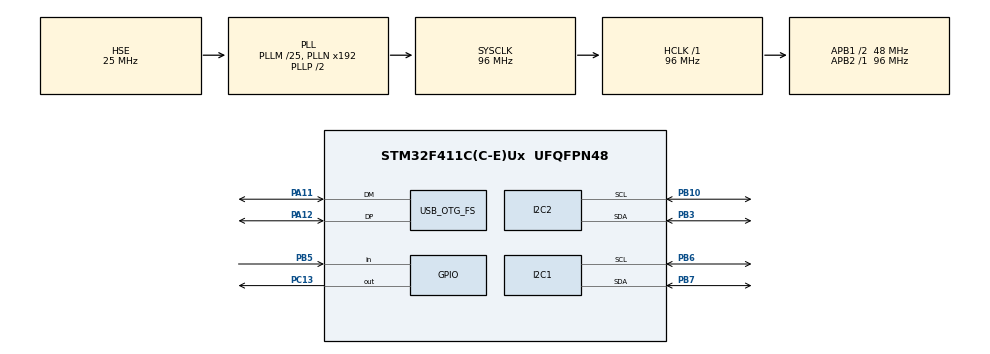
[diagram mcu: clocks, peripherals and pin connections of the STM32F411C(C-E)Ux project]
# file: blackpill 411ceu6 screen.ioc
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I2C2.I2C_Mode=I2C_Fast
Mcu.Family=STM32F4
Mcu.Name=STM32F411C(C-E)Ux
Mcu.Package=UFQFPN48
NVIC.OTG_FS_IRQn=true\:0\:0\:false\:false\:true\:false\:true\:true
NVIC.PriorityGroup=NVIC_PRIORITYGROUP_4
PA0-WKUP.Mode=SYS_WakeUp0
PA0-WKUP.Signal=SYS_WKUP
PA11.Mode=Device_Only
PA11.Signal=USB_OTG_FS_DM
PA12.Mode=Device_Only
PA12.Signal=USB_OTG_FS_DP
PA13.Mode=Serial_Wire
PA13.Signal=SYS_JTMS-SWDIO
PA14.Mode=Serial_Wire
PA14.Signal=SYS_JTCK-SWCLK
PB10.Mode=I2C
PB10.Signal=I2C2_SCL
PB3.Mode=I2C
PB3.Signal=I2C2_SDA
PB5.Signal=GPIO_Input
PB6.Mode=I2C
PB6.Signal=I2C1_SCL
PB7.Mode=I2C
PB7.Signal=I2C1_SDA
PC13-ANTI_TAMP.Signal=GPIO_Output
PC14-OSC32_IN.Mode=LSE-External-Oscillator
PC14-OSC32_IN.Signal=RCC_OSC32_IN
PC15-OSC32_OUT.Mode=LSE-External-Oscillator
PC15-OSC32_OUT.Signal=RCC_OSC32_OUT
PH0\ -\ OSC_IN.Mode=HSE-External-Oscillator
PH0\ -\ OSC_IN.Signal=RCC_OSC_IN
PH1\ -\ OSC_OUT.Mode=HSE-External-Oscillator
PH1\ -\ OSC_OUT.Signal=RCC_OSC_OUT
ProjectManager.HeapSize=0x200
ProjectManager.StackSize=0x400
ProjectManager.TargetToolchain=CMake
RCC.48MHZClocksFreq_Value=48000000
RCC.AHBFreq_Value=96000000
RCC.APB1CLKDivider=RCC_HCLK_DIV2
RCC.APB1Freq_Value=48000000
RCC.APB1TimFreq_Value=96000000
RCC.APB2Freq_Value=96000000
RCC.APB2TimFreq_Value=96000000
RCC.CortexFreq_Value=96000000
RCC.HCLKFreq_Value=96000000
RCC.HSE_VALUE=25000000
RCC.HSI_VALUE=16000000
RCC.PLLM=25
RCC.SYSCLKFreq_VALUE=96000000
RCC.SYSCLKSource=RCC_SYSCLKSOURCE_PLLCLK
RCC.VCOOutputFreq_Value=192000000
USB_DEVICE.CLASS_NAME_FS=CDC
USB_DEVICE.PRODUCT_STRING_CDC_FS=Cosito
USB_DEVICE.VirtualMode=Cdc
USB_DEVICE.VirtualModeFS=Cdc_FS
USB_OTG_FS.VirtualMode=Device_Only
VP_USB_DEVICE_VS_USB_DEVICE_CDC_FS.Mode=CDC_FS
board=custom

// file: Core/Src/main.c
/* USER CODE BEGIN Header */
/**
  ******************************************************************************
  * @file           : main.c
  * @brief          : Main program body
  ******************************************************************************
  * @attention
  *
  * Copyright (c) 2024 STMicroelectronics.
  * All rights reserved.
  *
  * This software is licensed under terms that can be found in the LICENSE file
  * in the root directory of this software component.
  * If no LICENSE file comes with this software, it is provided AS-IS.
  *
  ******************************************************************************
  */
/* USER CODE END Header */
#include "main.h"
#include "i2c.h"
#include "usb_device.h"
#include "gpio.h"

/* USER CODE BEGIN Includes */
#include "usbd_cdc_if.h"
#include "string.h"
#include "ssd1306.h"
#include "mpu6050.h"
#include "ssd1306_fonts.h"
#include "stdio.h"
#include "liquidcrystal_i2c.h"
/* USER CODE END Includes */

/* USER CODE BEGIN PV */
MPU6050_t MPU6050;
/* USER CODE END PV */

void SystemClock_Config(void);

/* USER CODE BEGIN 0 */

char buffer[946];
char buffer2[20];

void print_oled()
{
		ssd1306_Fill(Black);

		ssd1306_SetCursor(2,0);
		sprintf(buffer,"%d, %d, %d \n", MPU6050.Accel_X_RAW, MPU6050.Accel_Y_RAW, MPU6050.Accel_Z_RAW);
		ssd1306_WriteString(buffer, Font_7x10, White);
		ssd1306_Line(1,18,127,18,White);

		ssd1306_SetCursor(2, 28);
		sprintf(buffer,"% 3.4lfX,% 3.4lfY \n", MPU6050.KalmanAngleX, MPU6050.KalmanAngleY);
		ssd1306_WriteString(buffer, Font_7x10, White);
		ssd1306_Line(1,48,127,48,White);

		ssd1306_SetCursor(0, 54);
		sprintf(buffer,"Temp=   %fc", MPU6050.Temperature);
		ssd1306_WriteString(buffer, Font_7x10, White);

		ssd1306_UpdateScreen();
}

void print_lcd()
{

	HD44780_SetCursor(0,0);
	sprintf(buffer2,"%lfX", MPU6050.Gx);
	HD44780_PrintStr(buffer2);

	HD44780_SetCursor(0,1);
	sprintf(buffer2,"%lfY", MPU6050.Gy);
	HD44780_PrintStr(buffer2);

	HD44780_SetCursor(0,2);
	sprintf(buffer2,"%lfZ", MPU6050.Gz);
	HD44780_PrintStr(buffer2);

}

/* USER CODE END 0 */

int main(void)
{

  /* MCU Configuration--------------------------------------------------------*/

  /* Reset of all peripherals, Initializes the Flash interface and the Systick. */
  HAL_Init();

  /* Configure the system clock */
  SystemClock_Config();

  /* Initialize all configured peripherals */
  MX_GPIO_Init();
  MX_I2C1_Init();
  MX_USB_DEVICE_Init();
  MX_I2C2_Init();
  /* USER CODE BEGIN 2 */
  ssd1306_Init();

  /* Initialize */
  HD44780_Init(4);

  /* Clear buffer */
  HD44780_Clear();

  /* Blink cursor */
//  HD44780_Blink();

  while (MPU6050_Init(&hi2c2) == 1);
  /* USER CODE END 2 */

  /* Infinite loop */
  while (1)
  {

    /* USER CODE BEGIN 3 */

	  MPU6050_Read_All(&hi2c2, &MPU6050);
	   HAL_Delay (100);

	   print_oled();
	  //CDC_Transmit_FS((uint8_t *) data, strlen(data));
	   print_lcd();

  }
  /* USER CODE END 3 */
}

void SystemClock_Config(void)
{
  RCC_OscInitTypeDef RCC_OscInitStruct = {0};
  RCC_ClkInitTypeDef RCC_ClkInitStruct = {0};

  /** Configure the main internal regulator output voltage
  */
  __HAL_RCC_PWR_CLK_ENABLE();
  __HAL_PWR_VOLTAGESCALING_CONFIG(PWR_REGULATOR_VOLTAGE_SCALE1);

  /** Initializes the RCC Oscillators according to the specified parameters
  * in the RCC_OscInitTypeDef structure.
  */
  RCC_OscInitStruct.OscillatorType = RCC_OSCILLATORTYPE_HSE;
  RCC_OscInitStruct.HSEState = RCC_HSE_ON;
  RCC_OscInitStruct.PLL.PLLState = RCC_PLL_ON;
  RCC_OscInitStruct.PLL.PLLSource = RCC_PLLSOURCE_HSE;
  RCC_OscInitStruct.PLL.PLLM = 25;
  RCC_OscInitStruct.PLL.PLLN = 192;
  RCC_OscInitStruct.PLL.PLLP = RCC_PLLP_DIV2;
  RCC_OscInitStruct.PLL.PLLQ = 4;
  if (HAL_RCC_OscConfig(&RCC_OscInitStruct) != HAL_OK)
  {
    Error_Handler();
  }

  /** Initializes the CPU, AHB and APB buses clocks
  */
  RCC_ClkInitStruct.ClockType = RCC_CLOCKTYPE_HCLK|RCC_CLOCKTYPE_SYSCLK
                              |RCC_CLOCKTYPE_PCLK1|RCC_CLOCKTYPE_PCLK2;
  RCC_ClkInitStruct.SYSCLKSource = RCC_SYSCLKSOURCE_PLLCLK;
  RCC_ClkInitStruct.AHBCLKDivider = RCC_SYSCLK_DIV1;
  RCC_ClkInitStruct.APB1CLKDivider = RCC_HCLK_DIV2;
  RCC_ClkInitStruct.APB2CLKDivider = RCC_HCLK_DIV1;

  if (HAL_RCC_ClockConfig(&RCC_ClkInitStruct, FLASH_LATENCY_3) != HAL_OK)
  {
    Error_Handler();
  }
}

void Error_Handler(void)
{
  __disable_irq();
  while (1)
  {
  }
}
